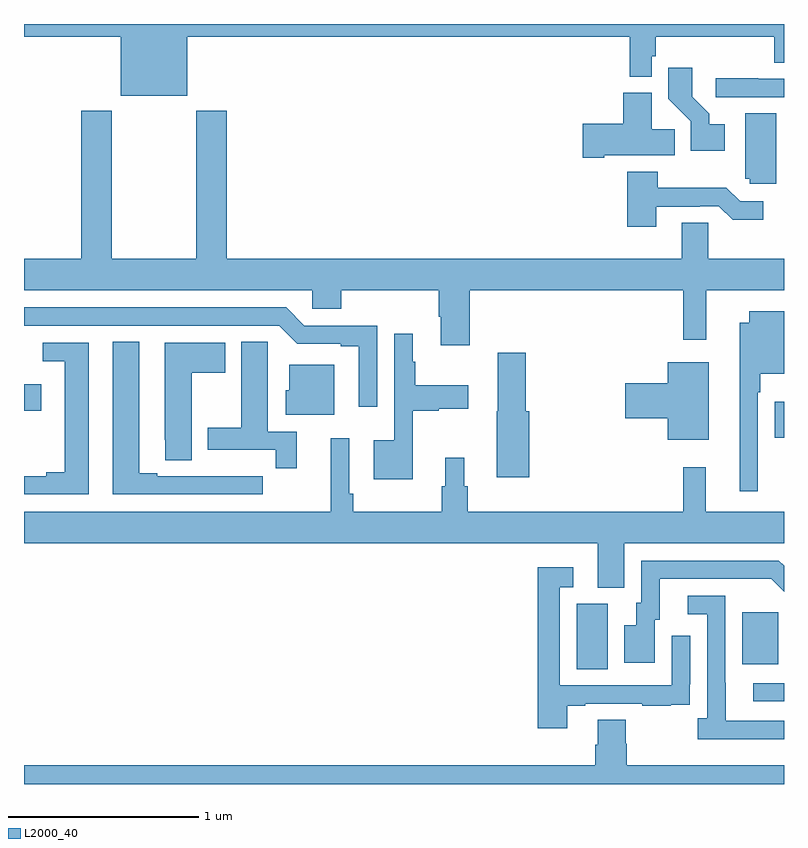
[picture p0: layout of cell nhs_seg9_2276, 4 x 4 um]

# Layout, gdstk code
import gdstk
lib = gdstk.Library(unit=1e-6, precision=1e-09)
def R(c, l, rs):  # rectangles x0, y0, x1, y1
    for r in rs: c.add(gdstk.rectangle(r[:2], r[2:], *l))
def P(c, l, *ps):  # polygons
    for p in ps: c.add(gdstk.Polygon(p, *l))
L2000_40 = (2000, 40)

nhs_seg9_2276 = lib.new_cell('nhs_seg9_2276')
R(nhs_seg9_2276, L2000_40, [(244.839,1180.935,245,1181.031), (243.908,1181.104,244.072,1181.448), (244.781,1181.129,244.969,1181.404), (244.952,1182.323,245,1182.511), (241,1182.464,241.09,1182.604)])
P(nhs_seg9_2276, L2000_40, [(244.189,1184.222),(244.305,1184.222),(244.305,1184.331),(244.325,1184.331),(244.325,1184.432),(244.949,1184.432),(244.949,1184.296),(245,1184.296),(245,1184.5),(241,1184.5),(241,1184.432),(241.508,1184.432),(241.508,1184.123),(241.858,1184.123),(241.858,1184.432),(244.189,1184.432)],
  [(244.687,1183.972),(244.606,1183.972),(244.606,1184.027),(244.516,1184.117),(244.516,1184.269),(244.39,1184.269),(244.39,1184.106),(244.509,1183.987),(244.509,1183.832),(244.687,1183.832)],
  [(245,1184.211),(244.865,1184.211),(244.865,1184.214),(244.641,1184.214),(244.641,1184.115),(245,1184.115)],
  [(244.054,1183.808),(244.424,1183.808),(244.424,1183.946),(244.303,1183.946),(244.303,1184.137),(244.154,1184.137),(244.154,1183.974),(243.942,1183.974),(243.942,1183.796),(244.054,1183.796)],
  [(243.347,1183.1),(244.471,1183.1),(244.471,1182.837),(244.59,1182.837),(244.59,1183.1),(245,1183.1),(245,1183.264),(244.602,1183.264),(244.602,1183.454),(244.463,1183.454),(244.463,1183.264),(242.066,1183.264),(242.066,1184.044),(241.906,1184.044),(241.906,1183.264),(241.461,1183.264),(241.461,1184.044),(241.301,1184.044),(241.301,1183.264),(241,1183.264),(241,1183.1),(242.517,1183.1),(242.517,1183.002),(242.669,1183.002),(242.669,1183.1),(243.182,1183.1),(243.182,1182.958),(243.194,1182.958),(243.194,1182.81),(243.347,1182.81)],
  [(244.96,1184.03),(244.796,1184.03),(244.796,1183.686),(244.821,1183.686),(244.821,1183.659),(244.96,1183.659)],
  [(244.327,1183.539),(244.556,1183.539),(244.556,1183.542),(244.656,1183.542),(244.729,1183.469),(244.891,1183.469),(244.891,1183.566),(244.77,1183.566),(244.697,1183.639),(244.335,1183.639),(244.335,1183.723),(244.175,1183.723),(244.175,1183.434),(244.327,1183.434)],
  [(242.859,1182.912),(242.475,1182.912),(242.379,1183.008),(241,1183.008),(241,1182.912),(242.343,1182.912),(242.439,1182.816),(242.666,1182.816),(242.666,1182.804),(242.762,1182.804),(242.762,1182.486),(242.859,1182.486)],
  [(244.863,1182.563),(244.876,1182.563),(244.876,1182.659),(245,1182.659),(245,1182.988),(244.817,1182.988),(244.817,1182.928),(244.766,1182.928),(244.766,1182.042),(244.863,1182.042)],
  [(243.046,1182.464),(243.183,1182.464),(243.183,1182.476),(243.337,1182.476),(243.337,1182.598),(243.058,1182.598),(243.058,1182.722),(243.046,1182.722),(243.046,1182.871),(242.949,1182.871),(242.949,1182.31),(242.84,1182.31),(242.84,1182.104),(243.046,1182.104)],
  [(242.257,1182.12),(242.144,1182.12),(242.144,1182.121),(241.978,1182.121),(241.978,1182.12),(241.702,1182.12),(241.702,1182.135),(241.606,1182.135),(241.606,1182.827),(241.466,1182.827),(241.466,1182.024),(242.257,1182.024)],
  [(242.435,1182.354),(242.284,1182.354),(242.284,1182.716),(242.283,1182.716),(242.283,1182.827),(242.144,1182.827),(242.144,1182.375),(241.967,1182.375),(241.967,1182.258),(242.326,1182.258),(242.326,1182.162),(242.435,1182.162)],
  [(241.882,1182.664),(242.059,1182.664),(242.059,1182.823),(241.742,1182.823),(241.742,1182.313),(241.743,1182.313),(241.743,1182.205),(241.882,1182.205)],
  [(241.342,1182.822),(241.098,1182.822),(241.098,1182.726),(241.214,1182.726),(241.214,1182.14),(241.118,1182.14),(241.118,1182.12),(241,1182.12),(241,1182.024),(241.342,1182.024)],
  [(243.659,1182.462),(243.641,1182.462),(243.641,1182.769),(243.494,1182.769),(243.494,1182.462),(243.488,1182.462),(243.488,1182.114),(243.659,1182.114)],
  [(244.603,1182.721),(244.388,1182.721),(244.388,1182.608),(244.164,1182.608),(244.164,1182.425),(244.388,1182.425),(244.388,1182.311),(244.603,1182.311)],
  [(242.632,1182.706),(242.396,1182.706),(242.396,1182.573),(242.378,1182.573),(242.378,1182.443),(242.632,1182.443)],
  [(243.335,1182.066),(243.316,1182.066),(243.316,1182.217),(243.218,1182.217),(243.218,1182.066),(243.199,1182.066),(243.199,1181.932),(242.732,1181.932),(242.732,1182.028),(242.712,1182.028),(242.712,1182.319),(242.615,1182.319),(242.615,1181.932),(241,1181.932),(241,1181.768),(244.019,1181.768),(244.019,1181.533),(244.159,1181.533),(244.159,1181.768),(245,1181.768),(245,1181.932),(244.589,1181.932),(244.589,1182.166),(244.471,1182.166),(244.471,1181.932),(243.335,1181.932)],
  [(244.321,1181.364),(244.345,1181.364),(244.345,1181.58),(244.933,1181.58),(245,1181.512),(245,1181.648),(244.972,1181.676),(244.248,1181.676),(244.248,1181.454),(244.223,1181.454),(244.223,1181.335),(244.16,1181.335),(244.16,1181.139),(244.321,1181.139)],
  [(243.859,1180.911),(243.955,1180.911),(243.955,1180.923),(244.255,1180.923),(244.255,1180.911),(244.403,1180.911),(244.403,1180.917),(244.505,1180.917),(244.505,1181.026),(244.506,1181.026),(244.506,1181.281),(244.41,1181.281),(244.41,1181.019),(243.819,1181.019),(243.819,1181.535),(243.892,1181.535),(243.892,1181.641),(243.703,1181.641),(243.703,1180.794),(243.859,1180.794)],
  [(245,1180.833),(244.693,1180.833),(244.693,1181.033),(244.692,1181.033),(244.692,1181.49),(244.494,1181.49),(244.494,1181.394),(244.596,1181.394),(244.596,1180.846),(244.545,1180.846),(244.545,1180.736),(245,1180.736)],
  [(245,1180.6),(244.172,1180.6),(244.172,1180.713),(244.167,1180.713),(244.167,1180.838),(244.019,1180.838),(244.019,1180.706),(244.007,1180.706),(244.007,1180.6),(241,1180.6),(241,1180.5),(245,1180.5)])

lib.write_gds('nhs_seg9_2276.gds')
